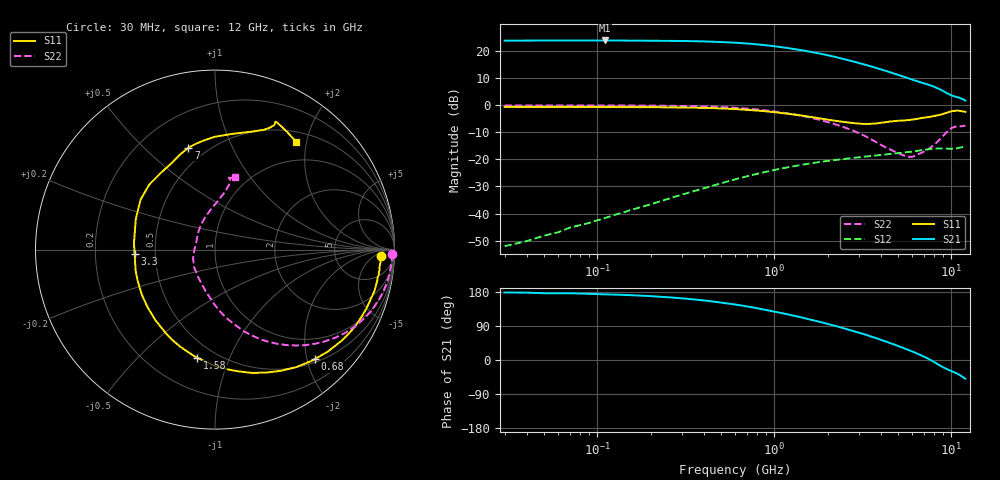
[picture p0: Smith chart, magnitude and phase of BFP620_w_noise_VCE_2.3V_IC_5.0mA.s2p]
! Infineon Technologies  Discrete & RF Semiconductors
! BFP620
! VCE =  2.3 V,  IC =  5.0 mA
! Common Emitter S-Parameters:  Nov 2015
# GHz  S  MA  R  50
!  f  S11  S21  S12  S22
! GHz  MAG  ANG  MAG  ANG  MAG  ANG  MAG  ANG
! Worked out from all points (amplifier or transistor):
!   239 points, 30 MHz to 12 GHz, reference 50 ohm
!   highest |S21| = 23.9 dB at 110 MHz (marker M1)
!   |S21| within 3 dB of that: start of sweep to 1.248 GHz
!   unconditionally stable (mu >= 1): 5.175 GHz to end of sweep
!   at 300 MHz: K = 0.11, MSG = 28.4 dB, |S12| = -33.1 dB
!   at 1.88 GHz: K = 0.51, MSG = 19.8 dB, |S12| = -20.8 dB
!   at 12 GHz: K = 1.23, MAG = 5.7 dB, |S12| = -15.5 dB
!   lowest NFmin = 0.63 dB at 450 MHz
!   S11 on the Smith chart (normalised r, x): 30 MHz: 21, -10; 680 MHz: 0.56, -2.15; 1.58 GHz: 0.40, -0.77; 3.3 GHz: 0.38, -0.02; 7 GHz: 0.40, +0.69; 12 GHz: 0.65, +1.81
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0.03  0.925 -2.1  15.48 178.2  0.0025 61.7  0.9862 -1.4
0.085  0.922 -6.0  15.53 175.0  0.0064 76.9  0.9863 -4.0
0.11  0.921 -7.8  15.59 173.3  0.0082 78.7  0.9849 -5.3
0.165  0.9194 -11.7  15.47 170.6  0.0123 78.7  0.9809 -7.9
0.24  0.9122 -17.0  15.34 166.3  0.0178 77.8  0.973 -11.6
0.3  0.9049 -21.4  15.25 162.8  0.0222 76.2  0.9646 -14.4
0.4  0.8909 -28.5  14.98 157.2  0.0294 73.2  0.9453 -19.1
0.6  0.8472 -42.2  14.19 146.5  0.0427 66.3  0.8947 -28.1
0.68  0.826 -47.5  13.81 142.4  0.0474 63.6  0.8692 -31.4
0.9  0.7682 -61.6  12.71 132.1  0.0591 56.8  0.7974 -39.9
1.08  0.7211 -72.2  11.82 124.6  0.0669 51.7  0.7392 -45.9
1.32  0.6655 -85.4  10.73 115.9  0.0757 46.2  0.6659 -53.0
1.58  0.6107 -99.3  9.714 107.4  0.0835 41.1  0.5927 -60.0
1.64  0.5991 -102.4  9.498 105.6  0.0851 40.0  0.5772 -61.4
1.96  0.5465 -118.4  8.45 96.3  0.0926 34.6  0.4974 -69.0
2.4  0.495 -139.1  7.231 85.3  0.1004 28.7  0.4046 -78.4
2.8  0.4668 -156.7  6.38 76.2  0.1064 24.2  0.3359 -86.6
3.3  0.4485 -176.8  5.504 66.5  0.1128 19.5  0.2626 -97.2
4.5  0.4995 146.1  4.045 44.8  0.1252 9.4  0.153 -139.2
7  0.5869 104.6  2.528 9.0  0.1497 -7.7  0.139 130.8
9  0.6887 72.6  1.818 -19.6  0.1594 -25.4  0.2724 86.5
12  0.7521 53.2  1.214 -49.5  0.167 -42.9  0.4181 74.4
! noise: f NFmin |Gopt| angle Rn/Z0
0.45  0.63  0.47  4  0.17
0.9  0.66  0.43  12  0.17
1.9  0.7  0.3  37  0.17
2.4  0.76  0.26  58  0.14
3.5  0.84  0.14  93  0.13
5.5  1.25  0.14  -174  0.13
10  1.94  0.61  -57  0.84
